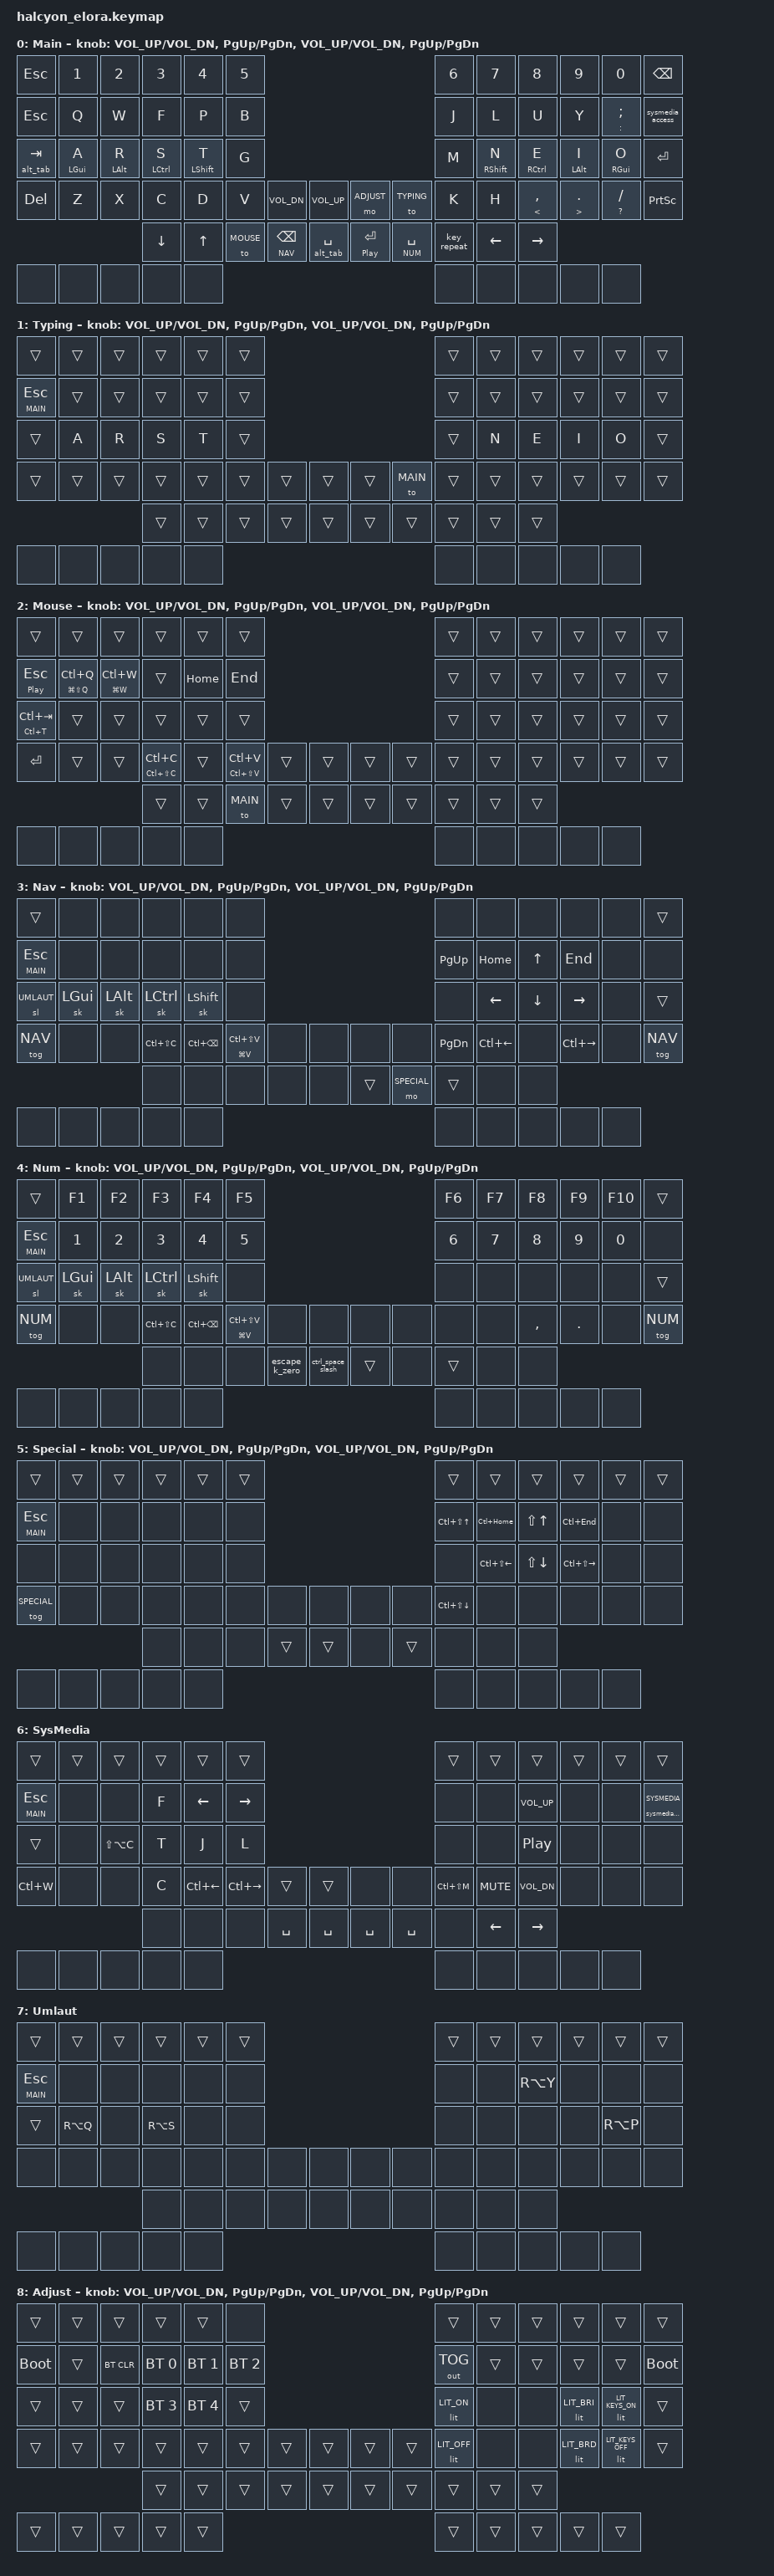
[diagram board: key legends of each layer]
/*
 * Based on SplitKB's Halcyon Elora keymap.
 * Copyright (c) 2023 The ZMK Contributors
 * Copyright (c) 2026 Splitkb.com
 *
 * SPDX-License-Identifier: MIT
 */

#include <behaviors.dtsi>
#include <behaviors/elora_lighting.dtsi>
#include <dt-bindings/elora/lighting.h>
#include <dt-bindings/zmk/bt.h>
#include <dt-bindings/zmk/keys.h>
#include <dt-bindings/zmk/outputs.h>

// Mouse sits below the functional layers so they override its shortcuts.
#define MAIN     0
#define TYPING   1
#define MOUSE    2
#define NAV      3
#define NUM      4
#define SPECIAL  5
#define SYSMEDIA 6
#define UMLAUT   7
#define ADJUST   8

// The Elora's first row adds twelve switches. All other switch positions
// follow the Kyria's physical order, not the Vial export's JSON row order.

// Elora positions 0-61 are switches; 62-71 are unused module inputs.
// KEYS_L/KEYS_R list each half's switch positions; either thumb cluster may
// trigger either hand's home-row hold.
#define KEYS_L   0 1 2 3 4 5 12 13 14 15 16 17 24 25 26 27 28 29 36 37 38 39 40 41 42 43
#define KEYS_R   6 7 8 9 10 11 18 19 20 21 22 23 30 31 32 33 34 35 44 45 46 47 48 49 50 51
#define THUMBS_L 52 53 54 55 56
#define THUMBS_R 57 58 59 60 61

// Lighting colors as 0xRRGGBB at full scale; brightness scales them.
// Underglow per layer:
#define GLOW_MAIN     0x000000 // off
#define GLOW_TYPING   0x806040 // dim warm white
#define GLOW_MOUSE    0xff00ff // magenta
#define GLOW_NAV      0x00ffff // cyan
#define GLOW_NUM      0x0000ff // blue
#define GLOW_SPECIAL  0x00ff00 // green
#define GLOW_SYSMEDIA 0xff8000 // amber
#define GLOW_UMLAUT   0x8000ff // violet
#define GLOW_ADJUST   0xff0000 // red
// Key roles, reused across layers. Colors only need to differ within one
// layer, so roles on different layers may share a color:
#define KEY_ARROW     0xff00ff // magenta, apart from the cyan jumps around them
#define KEY_JUMP      0x00ffff // cyan: page, line, word, and document jumps; seek
#define KEY_SELECT    0xc0c0c0 // white: selection
#define KEY_DIGIT     0xc0c0c0 // white: digits, comma, and dot
#define KEY_SHORTCUT  0xc0c0c0 // white: player shortcuts
#define KEY_MEDIA     0x00ff00 // green: volume, mute, play/pause
#define KEY_FUNCTION  0x0000ff // blue: F-keys
#define KEY_MODIFIER  0xffc000 // yellow: sticky modifiers
#define KEY_EDIT      0xff4000 // orange: clipboard, editing, and closing
#define KEY_EXIT      0xff0000 // red: back to Main, layer toggles
#define KEY_MACRO     0xff00ff // magenta: macros
#define KEY_PROFILE   0x0000ff // blue: Bluetooth profiles
#define KEY_OUTPUT    0x00ff00 // green: USB/BLE output
#define KEY_LIGHTING  0xff8000 // amber: lighting controls
#define KEY_SYSTEM    0xff0000 // red: bootloader, Bluetooth clear
// Layer-access keys use the underglow color of the layer they open.

/ {
  // Underglow color per layer, in layer ID order. Main stays dark, and so do
  // the keys-replace-underglow layers while key colors are on.
  // Each child gives keys on one layer a role color; every other key stays
  // dark, and &trans keys show the next active layer's role.
  elora_lighting {
    compatible = "elora,lighting";
    layer-colors = <GLOW_MAIN GLOW_TYPING GLOW_MOUSE GLOW_NAV GLOW_NUM GLOW_SPECIAL
                    GLOW_SYSMEDIA GLOW_UMLAUT GLOW_ADJUST>;
    keys-replace-underglow = <NAV NUM SPECIAL SYSMEDIA ADJUST>;

    nav_arrows { layer = <NAV>; color = <KEY_ARROW>; positions = <20 31 32 33>; };
    nav_jumps { layer = <NAV>; color = <KEY_JUMP>; positions = <18 19 21 46 47 49>; };
    nav_modifiers { layer = <NAV>; color = <KEY_MODIFIER>; positions = <25 26 27 28>; };
    nav_edit { layer = <NAV>; color = <KEY_EDIT>; positions = <39 40 41>; };
    nav_exits { layer = <NAV>; color = <KEY_EXIT>; positions = <12 36 51>; };
    nav_umlaut { layer = <NAV>; color = <GLOW_UMLAUT>; positions = <24>; };
    nav_special { layer = <NAV>; color = <GLOW_SPECIAL>; positions = <58>; };

    num_digits { layer = <NUM>; color = <KEY_DIGIT>; positions = <13 14 15 16 17 18 19 20 21 22 48 49>; };
    num_functions { layer = <NUM>; color = <KEY_FUNCTION>; positions = <1 2 3 4 5 6 7 8 9 10>; };
    num_modifiers { layer = <NUM>; color = <KEY_MODIFIER>; positions = <25 26 27 28>; };
    num_edit { layer = <NUM>; color = <KEY_EDIT>; positions = <39 40 41>; };
    num_exits { layer = <NUM>; color = <KEY_EXIT>; positions = <12 36 51>; };
    num_umlaut { layer = <NUM>; color = <GLOW_UMLAUT>; positions = <24>; };
    num_macros { layer = <NUM>; color = <KEY_MACRO>; positions = <55 56>; };

    special_selection { layer = <SPECIAL>; color = <KEY_SELECT>; positions = <18 20 31 32 33 46>; };
    special_jumps { layer = <SPECIAL>; color = <KEY_JUMP>; positions = <19 21>; };
    special_exits { layer = <SPECIAL>; color = <KEY_EXIT>; positions = <12 36>; };

    sysmedia_media { layer = <SYSMEDIA>; color = <KEY_MEDIA>; positions = <20 32 47 48>; };
    sysmedia_seek { layer = <SYSMEDIA>; color = <KEY_JUMP>; positions = <16 17 28 29 40 41 60 61>; };
    sysmedia_shortcuts { layer = <SYSMEDIA>; color = <KEY_SHORTCUT>; positions = <15 26 27 39 46 55 56 57 58>; };
    sysmedia_close { layer = <SYSMEDIA>; color = <KEY_EDIT>; positions = <36>; };
    sysmedia_exits { layer = <SYSMEDIA>; color = <KEY_EXIT>; positions = <12 23>; };

    adjust_profiles { layer = <ADJUST>; color = <KEY_PROFILE>; positions = <15 16 17 27 28>; };
    adjust_output { layer = <ADJUST>; color = <KEY_OUTPUT>; positions = <18>; };
    adjust_lighting { layer = <ADJUST>; color = <KEY_LIGHTING>; positions = <30 33 34 46 49 50>; };
    adjust_system { layer = <ADJUST>; color = <KEY_SYSTEM>; positions = <12 14 23>; };
  };

  behaviors {
    escape_main: escape_main {
      compatible = "zmk,behavior-hold-tap";
      #binding-cells = <2>;
      tapping-term-ms = <200>;
      flavor = "hold-preferred";
      bindings = <&to>, <&kp>;
    };

    punctuation_hold_tap: punctuation_hold_tap {
      compatible = "zmk,behavior-hold-tap";
      #binding-cells = <2>;
      tapping-term-ms = <160>;
      flavor = "tap-preferred";
      bindings = <&kp>, <&kp>;
    };

    paste_hold_tap: paste_hold_tap {
      compatible = "zmk,behavior-hold-tap";
      #binding-cells = <2>;
      tapping-term-ms = <160>;
      flavor = "tap-preferred";
      bindings = <&kp>, <&kp>;
    };

    // Match Kyria's Mouse actions: a short press or interruption is a tap;
    // an uninterrupted 180 ms hold sends the secondary action. Listing only
    // the key's own position makes every other key press force a tap.
    mouse_escape: mouse_escape {
      compatible = "zmk,behavior-hold-tap";
      #binding-cells = <2>;
      tapping-term-ms = <180>;
      flavor = "hold-preferred";
      hold-trigger-key-positions = <12>;
      bindings = <&kp>, <&kp>;
    };

    mouse_close_app: mouse_close_app {
      compatible = "zmk,behavior-hold-tap";
      #binding-cells = <2>;
      tapping-term-ms = <180>;
      flavor = "hold-preferred";
      hold-trigger-key-positions = <13>;
      bindings = <&kp>, <&kp>;
    };

    mouse_close_tab: mouse_close_tab {
      compatible = "zmk,behavior-hold-tap";
      #binding-cells = <2>;
      tapping-term-ms = <180>;
      flavor = "hold-preferred";
      hold-trigger-key-positions = <14>;
      bindings = <&kp>, <&kp>;
    };

    mouse_tabs: mouse_tabs {
      compatible = "zmk,behavior-hold-tap";
      #binding-cells = <2>;
      tapping-term-ms = <180>;
      flavor = "hold-preferred";
      hold-trigger-key-positions = <24>;
      bindings = <&kp>, <&kp>;
    };

    mouse_copy: mouse_copy {
      compatible = "zmk,behavior-hold-tap";
      #binding-cells = <2>;
      tapping-term-ms = <180>;
      flavor = "hold-preferred";
      hold-trigger-key-positions = <39>;
      bindings = <&kp>, <&kp>;
    };

    mouse_paste: mouse_paste {
      compatible = "zmk,behavior-hold-tap";
      #binding-cells = <2>;
      tapping-term-ms = <180>;
      flavor = "hold-preferred";
      hold-trigger-key-positions = <41>;
      bindings = <&kp>, <&kp>;
    };

    repeat_tap_mo: repeat_tap_mo {
      compatible = "zmk,behavior-hold-tap";
      #binding-cells = <2>;
      tapping-term-ms = <200>;
      quick-tap-ms = <200>;
      flavor = "tap-preferred";
      bindings = <&mo>, <&kp>;
    };

    // Single tap/hold keeps sticky-layer access; a double tap locks the layer.
    sysmedia_access: sysmedia_access {
      compatible = "zmk,behavior-tap-dance";
      #binding-cells = <0>;
      tapping-term-ms = <200>;
      bindings = <&sl SYSMEDIA>, <&tog SYSMEDIA>;
    };

    // Always exit SysMedia, including its unlocked one-shot state, without
    // clearing the underlying layers. A normal toggle could lock it instead.
    sysmedia_off: sysmedia_off {
      compatible = "zmk,behavior-toggle-layer";
      #binding-cells = <1>;
      toggle-mode = "off";
      locking;
    };

    sk_shift: sticky_shift_quick_release {
      compatible = "zmk,behavior-sticky-key";
      #binding-cells = <1>;
      release-after-ms = <1000>;
      quick-release;
      ignore-modifiers;
      bindings = <&kp>;
    };

    // A home-row hold may be triggered by the opposite hand or either thumb.
    left_hrm: left_home_row_mod {
      compatible = "zmk,behavior-hold-tap";
      #binding-cells = <2>;
      flavor = "balanced";
      tapping-term-ms = <280>;
      quick-tap-ms = <175>;
      require-prior-idle-ms = <150>;
      hold-trigger-key-positions = <KEYS_R THUMBS_L THUMBS_R>;
      hold-trigger-on-release;
      bindings = <&kp>, <&kp>;
    };

    right_hrm: right_home_row_mod {
      compatible = "zmk,behavior-hold-tap";
      #binding-cells = <2>;
      flavor = "balanced";
      tapping-term-ms = <280>;
      quick-tap-ms = <175>;
      require-prior-idle-ms = <150>;
      hold-trigger-key-positions = <KEYS_L THUMBS_L THUMBS_R>;
      hold-trigger-on-release;
      bindings = <&kp>, <&kp>;
    };

    // Hold runs alt_tab; its parameter is unused.
    alt_tab_mt: alt_tab_mod_tap {
      compatible = "zmk,behavior-hold-tap";
      #binding-cells = <2>;
      flavor = "tap-preferred";
      tapping-term-ms = <200>;
      bindings = <&alt_tab>, <&kp>;
    };
  };

  macros {
    // Hold Alt for the whole key hold but tap Tab once, so Tab never
    // autorepeats and Alt is down before Tab arrives.
    alt_tab: alt_tab {
      compatible = "zmk,behavior-macro";
      #binding-cells = <0>;
      wait-ms = <30>;
      tap-ms = <30>;
      bindings
        = <&macro_press &kp LALT>
        , <&macro_tap &kp TAB>
        , <&macro_pause_for_release>
        , <&macro_release &kp LALT>
        ;
    };

    escape_k_zero: escape_k_zero {
      compatible = "zmk,behavior-macro";
      #binding-cells = <0>;
      wait-ms = <100>;
      bindings = <&kp ESC &kp K &kp N0>;
    };

    ctrl_space_slash: ctrl_space_slash {
      compatible = "zmk,behavior-macro";
      #binding-cells = <0>;
      wait-ms = <100>;
      bindings = <&kp LC(SPACE) &kp FSLH>;
    };
  };

  combos {
    compatible = "zmk,combos";
    // Vial combos use keycodes; these are Elora physical positions instead.
    // Typing changes the S home-row mod at position 27. Mouse inherits Main's
    // combos only when none of their inputs are remapped on Mouse.
    combo_delete_word { key-positions = <55 40>; layers = <MAIN TYPING MOUSE>; bindings = <&kp LC(BSPC)>; };
    combo_ctrl_u { key-positions = <19 20>; layers = <MAIN TYPING MOUSE>; bindings = <&kp LC(U)>; };
    combo_ctrl_l { key-positions = <19 20 21>; layers = <MAIN TYPING MOUSE>; bindings = <&kp LC(L)>; };
    combo_caps_word { key-positions = <14 15>; layers = <MAIN TYPING>; bindings = <&caps_word>; };
    combo_plus { key-positions = <41 46>; layers = <MAIN TYPING>; bindings = <&kp LS(EQUAL)>; };
    combo_double_quote { key-positions = <15 20>; layers = <MAIN TYPING MOUSE>; bindings = <&kp LS(SQT)>; };
    combo_grave { key-positions = <14 21>; layers = <MAIN TYPING>; bindings = <&kp GRAVE>; };
    combo_equal { key-positions = <39 48>; layers = <MAIN TYPING>; bindings = <&kp EQUAL>; };
    combo_pipe { key-positions = <38 49>; layers = <MAIN TYPING MOUSE>; bindings = <&kp LS(BSLH)>; };
    combo_quote { key-positions = <16 19>; layers = <MAIN TYPING>; bindings = <&kp SQT>; };
    combo_minus { key-positions = <40 47>; layers = <MAIN TYPING MOUSE>; bindings = <&kp MINUS>; };
    combo_underscore { key-positions = <37 50>; layers = <MAIN TYPING MOUSE>; bindings = <&kp LS(MINUS)>; };
    combo_backslash { key-positions = <17 18>; layers = <MAIN TYPING>; bindings = <&kp BSLH>; };
    combo_sticky_shift { key-positions = <55 58>; layers = <MAIN TYPING MOUSE>; bindings = <&sk_shift LSHIFT>; };
    combo_ctrl_r { key-positions = <15 16>; layers = <MAIN TYPING>; bindings = <&kp LC(R)>; };
    combo_tilde { key-positions = <13 22>; layers = <MAIN TYPING>; bindings = <&kp LS(GRAVE)>; };
    combo_exclamation { key-positions = <13 58>; layers = <MAIN TYPING>; bindings = <&kp LS(N1)>; };
    combo_at { key-positions = <14 58>; layers = <MAIN TYPING>; bindings = <&kp LS(N2)>; };
    combo_hash { key-positions = <15 58>; layers = <MAIN TYPING MOUSE>; bindings = <&kp LS(N3)>; };
    combo_dollar { key-positions = <16 58>; layers = <MAIN TYPING>; bindings = <&kp LS(N4)>; };
    combo_percent { key-positions = <17 58>; layers = <MAIN TYPING>; bindings = <&kp LS(N5)>; };
    combo_left_paren { key-positions = <39 40>; layers = <MAIN TYPING>; bindings = <&kp LS(N9)>; };
    combo_left_bracket { key-positions = <38 39>; layers = <MAIN TYPING>; bindings = <&kp LBKT>; };
    combo_left_brace { key-positions = <38 39 40>; layers = <MAIN TYPING>; bindings = <&kp LS(LBKT)>; };
    combo_right_paren { key-positions = <47 48>; layers = <MAIN TYPING MOUSE>; bindings = <&kp LS(N0)>; };
    combo_right_bracket { key-positions = <48 49>; layers = <MAIN TYPING MOUSE>; bindings = <&kp RBKT>; };
    combo_right_brace { key-positions = <47 48 49>; layers = <MAIN TYPING MOUSE>; bindings = <&kp LS(RBKT)>; };
    combo_caret { key-positions = <18 55>; layers = <MAIN TYPING MOUSE>; bindings = <&kp LS(N6)>; };
    combo_ampersand { key-positions = <19 55>; layers = <MAIN TYPING MOUSE>; bindings = <&kp LS(N7)>; };
    combo_asterisk { key-positions = <20 55>; layers = <MAIN TYPING MOUSE>; bindings = <&kp LS(N8)>; };
    combo_ctrl_space { key-positions = <27 58>; layers = <MAIN MOUSE>; bindings = <&kp LC(SPACE)>; };
  };

  keymap {
    compatible = "zmk,keymap";

    // Each layer has 62 Elora switches followed by 10 unused module positions.
    main_layer {
      display-name = "Main";
      bindings = <
        &kp ESC   &kp N1 &kp N2 &kp N3 &kp N4 &kp N5                                               &kp N6 &kp N7 &kp N8 &kp N9 &kp N0 &kp BSPC
        &kp ESC   &kp Q  &kp W  &kp F  &kp P  &kp B                                                &kp J  &kp L  &kp U  &kp Y  &punctuation_hold_tap COLON SEMI &sysmedia_access
        &alt_tab_mt 0 TAB   &left_hrm LGUI A &left_hrm LALT R &left_hrm LCTRL S &left_hrm LSHIFT T &kp G   &kp M &right_hrm RSHIFT N &right_hrm RCTRL E &right_hrm LALT I &right_hrm RGUI O &kp RET
        &kp DEL   &kp Z &kp X &kp C &kp D &kp V &kp C_VOL_DN &kp C_VOL_UP   &mo ADJUST &to TYPING    &kp K &kp H &punctuation_hold_tap LESS_THAN COMMA &punctuation_hold_tap GREATER_THAN DOT &punctuation_hold_tap QUESTION FSLH &kp PSCRN
                                &kp DOWN &kp UP &to MOUSE &repeat_tap_mo NAV BSPC &alt_tab_mt 0 SPACE      &mt C_PLAY_PAUSE RET &repeat_tap_mo NUM SPACE &key_repeat &kp LEFT &kp RIGHT

        &none &none &none &none &none                                                          &none &none &none &none &none
      >;
      sensor-bindings = <&inc_dec_kp C_VOL_UP C_VOL_DN &inc_dec_kp PG_UP PG_DN &inc_dec_kp C_VOL_UP C_VOL_DN &inc_dec_kp PG_UP PG_DN>;
    };

    typing_layer {
      display-name = "Typing";
      bindings = <
        &trans &trans &trans &trans &trans &trans                                             &trans &trans &trans &trans &trans &trans
        &escape_main MAIN ESC &trans &trans &trans &trans &trans                               &trans &trans &trans &trans &trans &trans
        &trans &kp A &kp R &kp S &kp T &trans                                                &trans &kp N &kp E &kp I &kp O &trans
        &trans &trans &trans &trans &trans &trans &trans &trans       &trans &to MAIN             &trans &trans &trans &trans &trans &trans
                           &trans &trans &trans &trans &trans       &trans &trans &trans &trans &trans

        &none &none &none &none &none                                                         &none &none &none &none &none
      >;
      sensor-bindings = <&inc_dec_kp C_VOL_UP C_VOL_DN &inc_dec_kp PG_UP PG_DN &inc_dec_kp C_VOL_UP C_VOL_DN &inc_dec_kp PG_UP PG_DN>;
    };

    mouse_layer {
      display-name = "Mouse";
      bindings = <
        &trans &trans &trans &trans &trans &trans                                             &trans &trans &trans &trans &trans &trans
        &mouse_escape C_PLAY_PAUSE ESC &mouse_close_app LG(LS(Q)) LC(Q) &mouse_close_tab LG(W) LC(W) &trans &kp HOME &kp END   &trans &trans &trans &trans &trans &trans
        &mouse_tabs LC(T) LC(TAB) &trans &trans &trans &trans &trans                          &trans &trans &trans &trans &trans &trans
        &kp RET &trans &trans &mouse_copy LC(LS(C)) LC(C) &trans &mouse_paste LC(LS(V)) LC(V) &trans &trans   &trans &trans &trans &trans &trans &trans &trans &trans
                           &trans &trans &to MAIN &trans &trans       &trans &trans &trans &trans &trans

        &none &none &none &none &none                                                         &none &none &none &none &none
      >;
      sensor-bindings = <&inc_dec_kp C_VOL_UP C_VOL_DN &inc_dec_kp PG_UP PG_DN &inc_dec_kp C_VOL_UP C_VOL_DN &inc_dec_kp PG_UP PG_DN>;
    };

    nav_layer {
      display-name = "Nav";
      bindings = <
        &trans &none &none &none &none &none                                                &none &none &none &none &none &trans
        &escape_main MAIN ESC &none &none &none &none &none                               &kp PAGE_UP &kp HOME &kp UP_ARROW &kp END &none &none
        &sl UMLAUT &sk LGUI &sk LALT &sk LCTRL &sk LSHIFT &none                               &none &kp LEFT_ARROW &kp DOWN &kp RIGHT &none &trans
        &tog NAV &none &none &kp LC(LS(C)) &kp LC(BSPC) &paste_hold_tap LG(V) LC(LS(V)) &none &none    &none &none &kp PAGE_DOWN &kp LC(LEFT_ARROW) &none &kp LC(RIGHT_ARROW) &none &tog NAV
                           &none &none &none &none &none                              &trans &mo SPECIAL &trans &none &none

        &none &none &none &none &none                                                         &none &none &none &none &none
      >;
      sensor-bindings = <&inc_dec_kp C_VOL_UP C_VOL_DN &inc_dec_kp PG_UP PG_DN &inc_dec_kp C_VOL_UP C_VOL_DN &inc_dec_kp PG_UP PG_DN>;
    };

    num_layer {
      display-name = "Num";
      bindings = <
        &trans &kp F1 &kp F2 &kp F3 &kp F4 &kp F5                                              &kp F6 &kp F7 &kp F8 &kp F9 &kp F10 &trans
        &escape_main MAIN ESC &kp N1 &kp N2 &kp N3 &kp N4 &kp N5                              &kp N6 &kp N7 &kp N8 &kp N9 &kp N0 &none
        &sl UMLAUT &sk LGUI &sk LALT &sk LCTRL &sk LSHIFT &none                                  &none &none &none &none &none &trans
        &tog NUM &none &none &kp LC(LS(C)) &kp LC(BSPC) &paste_hold_tap LG(V) LC(LS(V)) &none &none     &none &none &none &none &kp COMMA &kp DOT &none &tog NUM
                           &none &none &none &escape_k_zero &ctrl_space_slash              &trans &none &trans &none &none

        &none &none &none &none &none                                                         &none &none &none &none &none
      >;
      sensor-bindings = <&inc_dec_kp C_VOL_UP C_VOL_DN &inc_dec_kp PG_UP PG_DN &inc_dec_kp C_VOL_UP C_VOL_DN &inc_dec_kp PG_UP PG_DN>;
    };

    special_layer {
      display-name = "Special";
      bindings = <
        &trans &trans &trans &trans &trans &trans                                            &trans &trans &trans &trans &trans &trans
        &escape_main MAIN ESC &none &none &none &none &none                                     &kp LC(LS(UP)) &kp LC(HOME) &kp LS(UP) &kp LC(END) &none &none
        &none &none &none &none &none &none                                                  &none &kp LC(LS(LEFT)) &kp LS(DOWN) &kp LC(LS(RIGHT)) &none &none
        &tog SPECIAL &none &none &none &none &none &none &none       &none &none                 &kp LC(LS(DOWN)) &none &none &none &none &none
                           &none &none &none &trans &trans       &none &trans &none &none &none

        &none &none &none &none &none                                                         &none &none &none &none &none
      >;
      sensor-bindings = <&inc_dec_kp C_VOL_UP C_VOL_DN &inc_dec_kp PG_UP PG_DN &inc_dec_kp C_VOL_UP C_VOL_DN &inc_dec_kp PG_UP PG_DN>;
    };

    sysmedia_layer {
      display-name = "SysMedia";
      bindings = <
        &trans &trans &trans &trans &trans &trans                                            &trans &trans &trans &trans &trans &trans
        &escape_main MAIN ESC &none &none &kp F &kp LEFT &kp RIGHT                             &none &none &kp C_VOL_UP &none &none &sysmedia_off SYSMEDIA
        &trans &none &kp LS(LA(C)) &kp T &kp J &kp L                                         &none &none &kp C_PLAY_PAUSE &none &none &none
        &kp LC(W) &none &none &kp C &kp LC(LEFT) &kp LC(RIGHT) &trans &trans       &none &none &kp LC(LS(M)) &kp C_MUTE &kp C_VOL_DN &none &none &none
                           &none &none &none &kp SPACE &kp SPACE       &kp SPACE &kp SPACE &none &kp LEFT &kp RIGHT

        &none &none &none &none &none                                                         &none &none &none &none &none
      >;
    };

    umlaut_layer {
      display-name = "Umlaut";
      bindings = <
        &trans &trans &trans &trans &trans &trans                                            &trans &trans &trans &trans &trans &trans
        &escape_main MAIN ESC &none &none &none &none &none                                   &none &none &kp RA(Y) &none &none &none
        &trans &kp RA(Q) &none &kp RA(S) &none &none                                        &none &none &none &none &kp RA(P) &none
        &none &none &none &none &none &none &none &none       &none &none                     &none &none &none &none &none &none
                           &none &none &none &none &none       &none &none &none &none &none

        &none &none &none &none &none                                                         &none &none &none &none &none
      >;
    };

    adjust_layer {
      display-name = "Adjust";
      bindings = <
        &trans      &trans &trans     &trans       &trans       &none                                      &trans          &trans          &trans          &trans          &trans          &trans
        &bootloader &trans &bt BT_CLR &bt BT_SEL 0 &bt BT_SEL 1 &bt BT_SEL 2                               &out OUT_TOG    &trans          &trans          &trans          &trans          &bootloader
        &trans      &trans &trans     &bt BT_SEL 3 &bt BT_SEL 4 &trans                                     &lit LIT_ON     &none           &none           &lit LIT_BRI    &lit LIT_KEYS_ON &trans
        &trans      &trans &trans     &trans       &trans       &trans       &trans &trans   &trans &trans &lit LIT_OFF    &none           &none           &lit LIT_BRD    &lit LIT_KEYS_OFF &trans
                                   &trans       &trans       &trans &trans   &trans &trans &trans &trans   &trans          &trans

        &trans &trans &trans &trans &trans                                                                 &trans &trans &trans &trans &trans
      >;
      sensor-bindings = <&inc_dec_kp C_VOL_UP C_VOL_DN &inc_dec_kp PG_UP PG_DN &inc_dec_kp C_VOL_UP C_VOL_DN &inc_dec_kp PG_UP PG_DN>;
    };
  };
};
